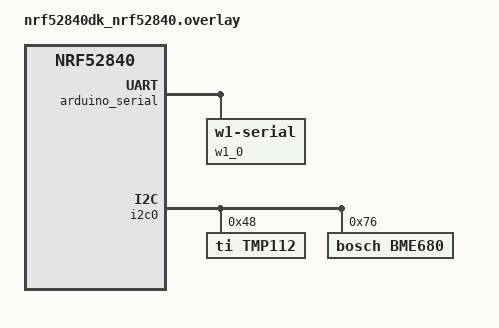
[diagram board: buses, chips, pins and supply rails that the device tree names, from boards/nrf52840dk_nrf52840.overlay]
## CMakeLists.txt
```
#
# Copyright (c) 2023 Nordic Semiconductor ASA
#
# SPDX-License-Identifier: LicenseRef-Nordic-5-Clause
#
cmake_minimum_required(VERSION 3.20.0)

find_package(Zephyr REQUIRED HINTS $ENV{ZEPHYR_BASE})
project(bthome_temp_sensor)

FILE(GLOB app_sources src/*.c)
target_sources(app PRIVATE ${app_sources})

target_include_directories(app PRIVATE include)
```

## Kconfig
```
# Copyright (c) 2023 Nordic Semiconductor ASA
#
# SPDX-License-Identifier: LicenseRef-Nordic-5-Clause
#

menu "BTHome temperature sensor type"

	choice TEMPERATURE_SENSOR_TYPE
		prompt "Temperature sensor type"
		default SENSOR_TMP112

	config SENSOR_TMP112
		bool "Texas Instruments TMP112"
		select I2C

	config SENSOR_DS18B20
		bool "Maxim DS18B20"
		select W1

	config SENSOR_BME680
		bool "Bosch BME680"
		select I2C

	endchoice

endmenu

source "Kconfig.zephyr"
```

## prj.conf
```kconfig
#
# Copyright (c) 2023 Nordic Semiconductor ASA
#
# SPDX-License-Identifier: LicenseRef-Nordic-5-Clause
#
CONFIG_BT=y
CONFIG_BT_PERIPHERAL=y
CONFIG_BT_DEVICE_NAME="BTHome sensor"

CONFIG_SENSOR=y
```

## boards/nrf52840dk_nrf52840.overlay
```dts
/*
 * Copyright (c) 2025 Nordic Semiconductor
 *
 * SPDX-License-Identifier: LicenseRef-Nordic-5-Clause
 */

 &arduino_serial {
	status = "okay";

	w1_0: w1-zephyr-serial-0 {
		compatible = "zephyr,w1-serial";
		status = "okay";
		mysensor1 {
			compatible = "maxim,ds18b20";
			family-code = <0x28>;
			resolution = <12>;
			status = "okay";
		};
	};
};

&pinctrl {
	uart1_default: uart1_default {
		group1 {
			psels = <NRF_PSEL(UART_RX, 1, 1)>;
			bias-pull-up;
		};
		group2 {
			psels = <NRF_PSEL(UART_TX, 1, 2)>;
			/* max. 5mA drive strength: */
			nordic,drive-mode = <NRF_DRIVE_H0D1>;
		};
	};
};
 
&i2c0 {
	mysensor2@48 {
		compatible = "ti,tmp112";
		reg = <0x48>;
		label = "TMP112";
	};

	mysensor3@76 {
		compatible = "bosch,bme680";
		reg = <0x76>;
		label = "BME680";
	};
};
```

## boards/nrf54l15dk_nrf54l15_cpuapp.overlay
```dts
/*
 * Copyright (c) 2025 Nordic Semiconductor ASA
 *
 * SPDX-License-Identifier: LicenseRef-Nordic-5-Clause
 */

&uart30 {
	status = "okay";

	w1_0: w1-zephyr-serial-0 {
		compatible = "zephyr,w1-serial";
		status = "okay";
		mysensor1 {
			compatible = "maxim,ds18b20";
			family-code = <0x28>;
			resolution = <12>;
			label = "DS18B20";
		};
	};
};

&pinctrl {
	uart30_default: uart30_default {
		group1 {
			psels = <NRF_PSEL(UART_RX, 0, 1)>;
		};
		group2 {
			psels = <NRF_PSEL(UART_TX, 0, 0)>;
			/* max. 5mA drive strength: */
			nordic,drive-mode = <NRF_DRIVE_H0D1>;
		};
	};

	uart30_sleep: uart30_sleep {
		group1 {
			psels = <NRF_PSEL(UART_RX, 0, 1)>,
				<NRF_PSEL(UART_TX, 0, 0)>;
			low-power-enable;
		};
	};

	i2c21_default: i2c21_default {
		group1 {
			psels = <NRF_PSEL(TWIM_SCL, 1, 12)>, <NRF_PSEL(TWIM_SDA, 1, 8)>;
        };
    };
};

&i2c21 {
    compatible = "nordic,nrf-twim";
    status = "okay";
    pinctrl-0 = <&i2c21_default>;
    pinctrl-names = "default";
	mysensor2@48 {
		compatible = "ti,tmp112";
		reg = <0x48>;
		label = "TMP112";
	};

	mysensor3@76 {
		compatible = "bosch,bme680";
		reg = <0x76>;
		label = "BME680";
	};
};
```

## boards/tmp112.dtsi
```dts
/*
 * Copyright (c) 2019, Linaro Ltd.
 *
 * SPDX-License-Identifier: Apache-2.0
 */

tmp112@48 {
    compatible = "ti,tmp112";
    reg = <0x48>;
    label = "TMP112";
};
```

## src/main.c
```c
/*
 * Copyright (c) 2023 Nordic Semiconductor ASA
 *
 * SPDX-License-Identifier: LicenseRef-Nordic-5-Clause
 */

#include <zephyr/kernel.h>
#include <zephyr/bluetooth/bluetooth.h>
#include <zephyr/bluetooth/uuid.h>

#include "sensor.h"

#define BTHOME_SERVICE_UUID     0xfcd2  /* BTHome service UUID */

#define IDX_TEMPL               4       /* Index of lo byte of temperature in service data */
#define IDX_TEMPH               5       /* Index of hi byte of temperature in service data */
#define IDX_HUMIL               7       /* Index of lo byte of humidity in service data */
#define IDX_HUMIH               8       /* Index of hi byte of humidity in service data */

#define ADV_PARAM BT_LE_ADV_PARAM(BT_LE_ADV_OPT_USE_IDENTITY, \
				  BT_GAP_ADV_SLOW_INT_MIN, \
				  BT_GAP_ADV_SLOW_INT_MAX, NULL)

static uint8_t service_data[] = {
	BT_UUID_16_ENCODE(BTHOME_SERVICE_UUID),
	0x40,
	0x02,	/* Temperature */
	0x00,	/* Low byte */
	0x00,   /* High byte */
#ifdef CONFIG_SENSOR_BME680
	0x03,	/* Humidity */
	0x00,	/* Low byte */
	0x00,   /* High byte */
#endif
};

static struct bt_data ad[] = {
	BT_DATA_BYTES(BT_DATA_FLAGS, BT_LE_AD_GENERAL | BT_LE_AD_NO_BREDR),
	BT_DATA(BT_DATA_NAME_COMPLETE, CONFIG_BT_DEVICE_NAME, sizeof(CONFIG_BT_DEVICE_NAME) - 1),
	BT_DATA(BT_DATA_SVC_DATA16, service_data, ARRAY_SIZE(service_data))
};

static void bt_ready(int err)
{
	if (err) {
		printk("Bluetooth init failed (err %d)\n", err);
		return;
	}

	printk("Bluetooth initialized\n");

	/* Start advertising */
	err = bt_le_adv_start(ADV_PARAM, ad, ARRAY_SIZE(ad), NULL, 0);
	if (err) {
		printk("Advertising failed to start (err %d)\n", err);
		return;
	}
}

static int init(void)
{
	int err;

	/* Initialize sensor and start sampling thread */
	sensor_init();
	
	/* Initialize the Bluetooth Subsystem */
	err = bt_enable(bt_ready);
	if (err != 0) {
		printk("Bluetooth init failed (err %d)\n", err);
		return err;
	}
	return 0;
}

int main(void)
{
	int err;
	static int32_t temperature;
	static uint32_t humidity;

	printk("Starting BTHome temp sensor\n");

	err = init();
	if (err != 0) {
		return 0;
	}

	for (;;) {
		temperature = temperature_get();
		service_data[IDX_TEMPL] = (uint8_t)((uint32_t)temperature & 0xff);
		service_data[IDX_TEMPH] = (uint8_t)(((uint32_t)temperature >> 8) & 0xff);
#ifdef CONFIG_SENSOR_BME680
		humidity = humidity_get();
		service_data[IDX_HUMIL] = (uint8_t)((uint32_t)humidity & 0xff);
		service_data[IDX_HUMIH] = (uint8_t)(((uint32_t)humidity >> 8) & 0xff);
#endif

		err = bt_le_adv_update_data(ad, ARRAY_SIZE(ad), NULL, 0);
		if (err) {
			printk("Failed to update advertising data (err %d)\n", err);
			return 0;
		}
		k_sleep(K_MSEC(BT_GAP_ADV_SLOW_INT_MIN));
	}
	return 0;
}
```

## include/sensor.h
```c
/*
 * Copyright (c) 2023 Nordic Semiconductor ASA
 *
 * SPDX-License-Identifier: LicenseRef-Nordic-5-Clause
 */

void sensor_init(void);
int32_t temperature_get(void);
uint32_t humidity_get(void);
uint32_t pressure_get(void);
```

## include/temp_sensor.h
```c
/*
 * Copyright (c) 2023 Nordic Semiconductor ASA
 *
 * SPDX-License-Identifier: Apache-2.0
 */

void temp_init(void);
int32_t temp_get(void);
```

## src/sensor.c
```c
/*
 * Copyright (c) 2023 Nordic Semiconductor ASA
 *
 * SPDX-License-Identifier: LicenseRef-Nordic-5-Clause
 */

#include <zephyr/kernel.h>
#include <zephyr/devicetree.h>
#include <zephyr/drivers/sensor.h>
#include "sensor.h"

#if CONFIG_SENSOR_DS18B20
#define SENSOR_DEVICE_NAME maxim_ds18b20
#elif CONFIG_SENSOR_BME680
#define SENSOR_DEVICE_NAME bosch_bme680
#else
#define SENSOR_DEVICE_NAME ti_tmp112
#endif
 

#define THREAD_STACKSIZE        1024
#define THREAD_PRIORITY         7

K_THREAD_STACK_DEFINE(sensor_thread_stack, THREAD_STACKSIZE);
static struct k_thread sensor_thread;
K_MUTEX_DEFINE(sensor_mutex);

typedef struct
{
	int32_t temperature;
	uint32_t humidity;
} sensor_data_t;

static sensor_data_t sensor_data;

static void thread_entry(void *p1, void *p2, void *p3)
{
	int ret;
	struct sensor_value sens_value;

	const struct device *dev = (const struct device *)p1;
	struct k_mutex *sens_mutex = (struct k_mutex *)p2;
	sensor_data_t *temp = (sensor_data_t *)p3;

	while (1) {
		ret = sensor_sample_fetch(dev);
		if (ret != 0) {
			printk("sensor_sample_fetch failed ret %d\n", ret);
			return;
		}

		ret = sensor_channel_get(dev, SENSOR_CHAN_AMBIENT_TEMP, &sens_value);
		if (ret != 0) {
			printk("sensor_channel_get failed ret %d\n", ret);
			return;
		}
		if (k_mutex_lock(sens_mutex, K_MSEC(2000)) == 0) {
			temp->temperature = sens_value.val1 * 1E6 + sens_value.val2;
			temp->temperature = (temp->temperature + 5000)/10000;
			k_mutex_unlock(sens_mutex);
		} else {
			printk("Unable to lock mutex\n");
		}
#if CONFIG_SENSOR_BME680
		ret = sensor_channel_get(dev, SENSOR_CHAN_HUMIDITY, &sens_value);
		if (ret != 0) {
			printk("sensor_channel_get failed ret %d\n", ret);
			return;
		}
		if (k_mutex_lock(sens_mutex, K_MSEC(2000)) == 0) {
			temp->humidity = sens_value.val1 * 1E6 + sens_value.val2;
			temp->humidity = (temp->humidity + 5000)/10000;
			k_mutex_unlock(sens_mutex);
		} else {
			printk("Unable to lock mutex\n");
		}
#endif
		k_sleep(K_MSEC(2000));
	}
}

void sensor_init(void)
{
	const struct device *dev = DEVICE_DT_GET_ANY(SENSOR_DEVICE_NAME);

	__ASSERT(dev != NULL, "Failed to get device binding");
	__ASSERT(device_is_ready(dev), "Device %s is not ready", dev->name);
	printk("device is %p, name is %s\n", dev, dev->name);

	k_thread_create(&sensor_thread, sensor_thread_stack,
			K_THREAD_STACK_SIZEOF(sensor_thread_stack),
			thread_entry, (void *)dev, (void *)&sensor_mutex, (void*)&sensor_data,
			THREAD_PRIORITY, 0, K_FOREVER);
	k_thread_start(&sensor_thread);
}

int32_t temperature_get(void)
{
	int32_t temp = 0;

	if (k_mutex_lock(&sensor_mutex, K_MSEC(100)) == 0) {
		temp = sensor_data.temperature;
		k_mutex_unlock(&sensor_mutex);
	}

	return temp;
}

uint32_t humidity_get(void)
{
	uint32_t temp = 0;

	if (k_mutex_lock(&sensor_mutex, K_MSEC(100)) == 0) {
		temp = sensor_data.humidity;
		k_mutex_unlock(&sensor_mutex);
	}

	return temp;
}

uint32_t pressure_get(void)
{
	/* Pressure is not supported by the current sensor implementations */
	return 0;
}
```

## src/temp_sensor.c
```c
/*
 * Copyright (c) 2023 Nordic Semiconductor ASA
 *
 * SPDX-License-Identifier: Apache-2.0
 */

#include <zephyr/kernel.h>
#include <zephyr/devicetree.h>
#include <zephyr/drivers/sensor.h>
#include "temp_sensor.h"

#if CONFIG_SENSOR_DS18B20
#define SENSOR_DEVICE_NAME maxim_ds18b20
#elif CONFIG_SENSOR_BME680
#define SENSOR_DEVICE_NAME bosch_bme680
#else
#define SENSOR_DEVICE_NAME ti_tmp112
#endif
 

#define THREAD_STACKSIZE        1024
#define THREAD_PRIORITY         7

K_THREAD_STACK_DEFINE(sensor_thread_stack, THREAD_STACKSIZE);
static struct k_thread sensor_thread;
K_MUTEX_DEFINE(sensor_mutex);

static int32_t temperature;

static void thread_entry(void *p1, void *p2, void *p3)
{
	int ret;
	struct sensor_value sens_value;

	const struct device *dev = (const struct device *)p1;
	struct k_mutex *sens_mutex = (struct k_mutex *)p2;
	int32_t *temp = (int32_t *)p3;

	while (1) {
		ret = sensor_sample_fetch(dev);
		if (ret != 0) {
			printk("sensor_sample_fetch failed ret %d\n", ret);
			return;
		}

		ret = sensor_channel_get(dev, SENSOR_CHAN_AMBIENT_TEMP, &sens_value);
		if (ret != 0) {
			printk("sensor_channel_get failed ret %d\n", ret);
			return;
		}
		if (k_mutex_lock(sens_mutex, K_MSEC(2000)) == 0) {
			*temp = sens_value.val1 * 1E6 + sens_value.val2;
			*temp = (*temp + 5000)/10000.0;
			k_mutex_unlock(sens_mutex);
		} else {
			printk("Unable to lock mutex\n");
		}
		k_sleep(K_MSEC(2000));
	}
}

void temp_init(void)
{
	const struct device *dev = DEVICE_DT_GET_ANY(SENSOR_DEVICE_NAME);

	__ASSERT(dev != NULL, "Failed to get device binding");
	__ASSERT(device_is_ready(dev), "Device %s is not ready", dev->name);
	printk("device is %p, name is %s\n", dev, dev->name);

	k_thread_create(&sensor_thread, sensor_thread_stack,
			K_THREAD_STACK_SIZEOF(sensor_thread_stack),
			thread_entry, (void *)dev, (void *)&sensor_mutex, (void*)&temperature,
			THREAD_PRIORITY, 0, K_FOREVER);
	k_thread_start(&sensor_thread);
}

int32_t temp_get(void)
{
	int32_t temp = 0;

	if (k_mutex_lock(&sensor_mutex, K_MSEC(100)) == 0) {
		temp = temperature;
		k_mutex_unlock(&sensor_mutex);
	}

	return temp;
}
```
